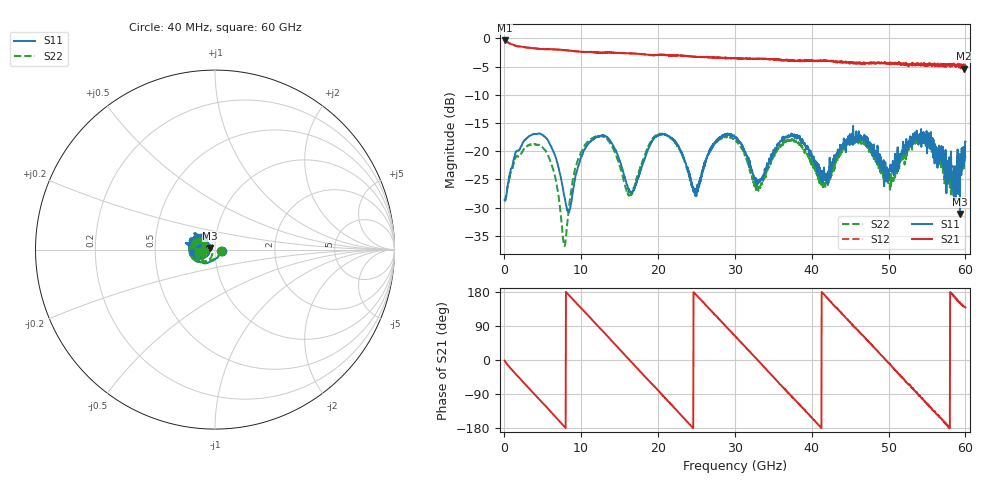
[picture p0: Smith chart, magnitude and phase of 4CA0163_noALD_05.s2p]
! File created by 'SoftPlot +Plus+ Measurement Management Software'
! SoftPlot +Plus+ Measurement Management Software
! Start 40.000000 MHz  Stop 60.000000 GHz  Points 1601
# MHZ S RI R 50
! S-Parameter data, F S11 S21 S12 S22
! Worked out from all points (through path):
!   1601 points, 40 MHz to 60 GHz, reference 50 ohm
!   highest |S21| = -0.36 dB at 40 MHz (marker M1); lowest = -5.4 dB at 59.85 GHz (marker M2)
!   group delay of S21, straight-line fit = 60.1 ps
!   lowest |S11| = -31.1 dB at 59.29 GHz (marker M3), VSWR 1.06, Z = 47.4 + j0.823 ohm
!   |S11| at or under -10 dB: start of sweep to end of sweep
!   |S22| runs from -36.8 to -16.9 dB; largest |S21 - S12| = 0.057
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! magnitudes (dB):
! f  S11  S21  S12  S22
! 40 MHz  -28.6  -0.4  -0.4  -28.5
! 1.539 GHz  -20.0  -1.3  -1.3  -21.0
! 4.762 GHz  -16.9  -1.9  -1.9  -19.0
! 6.486 GHz  -20.3  -1.9  -2.0  -23.9
! 7.835 GHz  -28.1  -2.1  -2.1  -36.8
! 8.472 GHz  -30.5  -2.1  -2.2  -29.2
! 10.05 GHz  -20.9  -2.4  -2.4  -20.0
! 13.23 GHz  -17.4  -2.5  -2.5  -17.6
! 16.38 GHz  -27.2  -2.7  -2.7  -27.6
! 20.05 GHz  -17.2  -2.9  -2.9  -16.9
! 24.85 GHz  -27.9  -3.3  -3.2  -27.2
! 30.02 GHz  -17.6  -3.5  -3.4  -17.9
! 32.91 GHz  -25.4  -3.6  -3.7  -26.3
! 36.65 GHz  -17.4  -3.8  -3.9  -18.3
! 40.03 GHz  -21.2  -3.9  -3.9  -21.9
! 41.75 GHz  -24.3  -4.0  -4.1  -25.8
! 46.02 GHz  -17.5  -4.4  -4.5  -18.2
! 50.03 GHz  -23.2  -4.4  -4.4  -24.6
! 53.4 GHz  -17.5  -4.6  -4.5  -17.8
! 59.29 GHz  -31.1  -4.7  -4.5  -20.5
! 59.85 GHz  -20.2  -5.4  -5.2  -21.9
! 60 GHz  -18.3  -4.9  -4.9  -20.6
